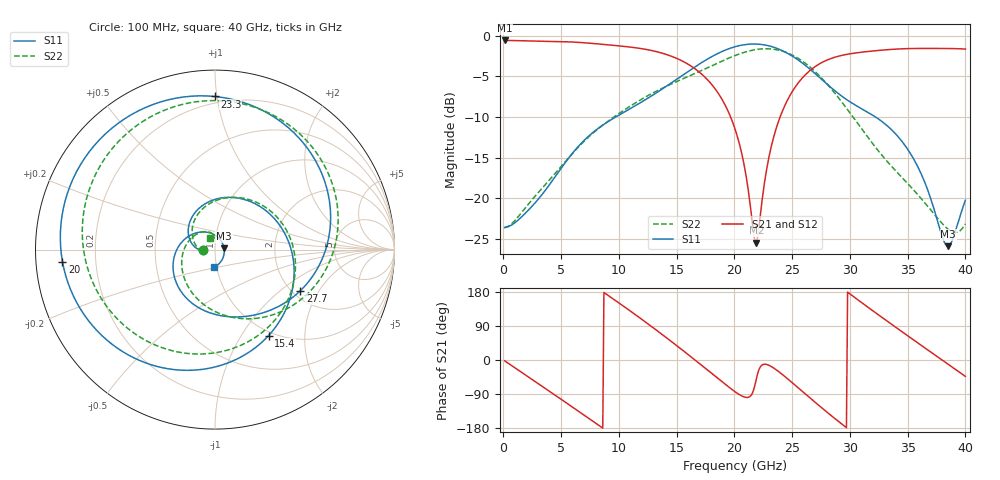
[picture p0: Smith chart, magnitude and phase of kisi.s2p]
! B_s8_L1L3_stub_d200: L1→L3, through via (stub to L8), drill Ø0.2
! stackup: 8-layer 1.6 mm FR-4 (generic)
! ports: 1, 2
! kisi-fdtd, conformal, dfine 0.0175 mm (the cell at metal ÷ 2), 1205820 cells
# Hz S RI R 50
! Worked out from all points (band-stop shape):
!   400 points, 100 MHz to 40 GHz, reference 50 ohm
!   highest |S21| = -0.59 dB at 100 MHz (marker M1); lowest = -25.4 dB at 21.9 GHz (marker M2)
!   |S21| within 3 dB of the highest: start of sweep to 16.08 GHz; 27.22 GHz to end of sweep
!   lowest |S11| = -25.9 dB at 38.5 GHz (marker M3), VSWR 1.11, Z = 55.3 + j0.861 ohm
!   |S11| at or under -10 dB: start of sweep to 9.719 GHz; 32.22 GHz to end of sweep
!   |S22| runs from -24.2 to -1.6 dB; largest |S21 - S12| = 2.9e-06
!   S11 on the Smith chart (normalised r, x): 100 MHz: 0.88, -0.00; 15.4 GHz: 0.95, -1.33; 20 GHz: 0.08, -0.04; 23.3 GHz: 0.16, +0.98; 27.7 GHz: 2.20, -1.40; 40 GHz: 0.97, -0.19
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1e8  -0.0662 -0.000528  0.9333 -0.034  0.9333 -0.034  -0.0661 -0.000552
1.7e9  -0.0784 -0.00404  0.758 -0.5379  0.758 -0.5379  -0.0841 5.5e-05
3.7e9  -0.1129 0.0151  0.2132 -0.898  0.2132 -0.898  -0.116 0.0412
5.2e9  -0.145 0.0687  -0.283 -0.8737  -0.283 -0.8737  -0.1276 0.102
6.8e9  -0.1296 0.1782  -0.711 -0.5616  -0.711 -0.5616  -0.0967 0.1952
9.7e9  0.1325 0.2865  -0.7999 0.3403  -0.7999 0.3403  0.1406 0.2889
1.17e10  0.351 0.1486  -0.3343 0.7677  -0.3343 0.7677  0.3624 0.1613
1.34e10  0.4406 -0.1046  0.202 0.7663  0.202 0.7663  0.4475 -0.115
1.54e10  0.2989 -0.4786  0.6178 0.3357  0.6178 0.3357  0.2297 -0.4856
1.78e10  -0.3243 -0.6506  0.4545 -0.2599  0.4545 -0.2599  -0.4096 -0.4925
2e10  -0.8499 -0.0667  0.0353 -0.2713  0.0353 -0.2713  -0.7383 0.1423
2.01e10  -0.8561 -0.0254  0.0239 -0.2594  0.0239 -0.2594  -0.7352 0.179
2.19e10  -0.5767 0.6747  0.0346 -0.0408  0.0346 -0.0408  -0.3689 0.7343
2.33e10  -0.00254 0.8532  0.2115 -0.0737  0.2115 -0.0737  0.162 0.8101
2.5e10  0.5551 0.5036  0.2278 -0.3904  0.2278 -0.3904  0.6329 0.4203
2.67e10  0.6083 -0.0241  -0.1517 -0.6044  -0.1517 -0.6044  0.6177 -0.1105
2.77e10  0.4748 -0.2297  -0.4416 -0.5315  -0.4416 -0.5315  0.4366 -0.3087
3.04e10  0.0591 -0.3721  -0.7555 0.1974  -0.7555 0.1974  -0.0719 -0.2985
3.34e10  -0.2266 -0.1514  -0.1259 0.8115  -0.1259 0.8115  -0.1614 0.025
3.63e10  -0.095 0.0958  0.6749 0.4907  0.6749 0.4907  -0.0237 0.0943
3.85e10  0.0503 0.00777  0.8183 -0.1584  0.8183 -0.1584  -0.0051 0.0644
4e10  -0.00345 -0.0973  0.6021 -0.5666  0.6021 -0.5666  -0.0286 0.0636
